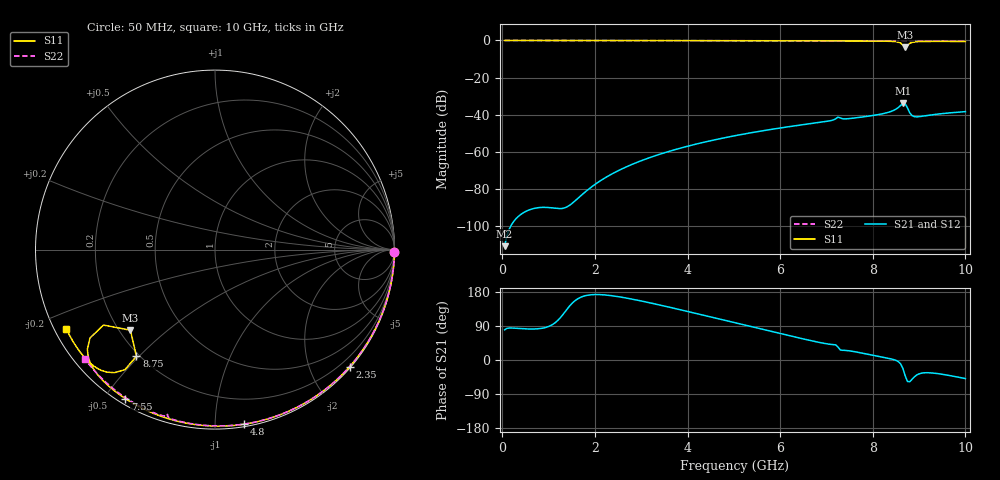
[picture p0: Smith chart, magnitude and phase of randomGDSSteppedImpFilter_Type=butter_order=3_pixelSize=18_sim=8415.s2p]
! freq	dB(S11)	phase(S11)	dB(S12)	phase(S12)
!  dB(S21)	phase(S21)	dB(S22)	phase(S22)
!S-par simulation data
#  GHz  S  DB  R 50
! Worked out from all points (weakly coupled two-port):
!   200 points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, 50 MHz to 10 GHz, reference 50 ohm
!   highest |S21| = -33.95 dB at 8.65 GHz (marker M1); lowest = -110.8 dB at 50 MHz (marker M2)
!   lowest |S11| = -3.7 dB at 8.7 GHz (marker M3), VSWR 4.73, Z = 12.2 - j19 ohm
!   |S11| at or under -10 dB: nowhere
!   |S22| runs from -0.5 to 0.0 dB; largest |S21 - S12| = 0
!   S11 on the Smith chart (normalised r, x): 50 MHz: open; 2.35 GHz: 0.02, -2.67; 4.8 GHz: 0.02, -1.18; 7.55 GHz: 0.02, -0.57; 8.75 GHz: 0.19, -0.49; 10 GHz: 0.03, -0.25
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0.05  -0.00 -0.9  -110.78 79.7  -110.78 79.7  -0.00 -0.8
1.75  -0.04 -30.8  -82.44 168.2  -82.44 168.2  -0.04 -27.9
1.9  -0.04 -33.3  -79.39 172.0  -79.39 172.0  -0.04 -30.3
2.35  -0.05 -41.0  -72.12 169.9  -72.12 169.9  -0.05 -37.2
2.85  -0.06 -49.4  -66.24 159.5  -66.24 159.5  -0.06 -44.9
3.4  -0.08 -58.4  -61.27 145.1  -61.27 145.1  -0.07 -53.1
4.8  -0.12 -80.4  -52.40 104.8  -52.40 104.8  -0.11 -73.3
5.05  -0.13 -84.2  -51.17 97.5  -51.17 97.5  -0.12 -76.8
6.7  -0.21 -108.6  -44.64 50.2  -44.64 50.2  -0.19 -98.9
7.1  -0.24 -114.4  -43.13 41.1  -43.13 41.1  -0.23 -104.3
7.25  -0.25 -116.5  -41.27 34.0  -41.27 34.0  -0.40 -106.1
7.35  -0.26 -118.0  -42.18 25.6  -42.18 25.6  -0.28 -106.6
7.55  -0.27 -121.0  -41.92 23.2  -41.92 23.2  -0.25 -109.4
8.35  -0.43 -134.9  -38.60 4.1  -38.60 4.1  -0.31 -119.5
8.55  -0.89 -142.0  -36.15 -4.2  -36.15 -4.2  -0.32 -122.0
8.65  -2.50 -145.9  -33.95 -22.0  -33.95 -22.0  -0.33 -123.2
8.7  -3.73 -136.4  -34.04 -41.8  -34.04 -41.8  -0.33 -123.9
8.75  -2.64 -126.4  -36.39 -56.7  -36.39 -56.7  -0.34 -124.5
8.85  -1.05 -129.3  -40.51 -50.7  -40.51 -50.7  -0.35 -125.7
8.95  -0.69 -133.2  -41.14 -39.5  -41.14 -39.5  -0.36 -126.9
9.3  -0.51 -141.1  -39.95 -34.5  -39.95 -34.5  -0.40 -131.2
10  -0.55 -152.1  -38.33 -49.0  -38.33 -49.0  -0.47 -139.7
